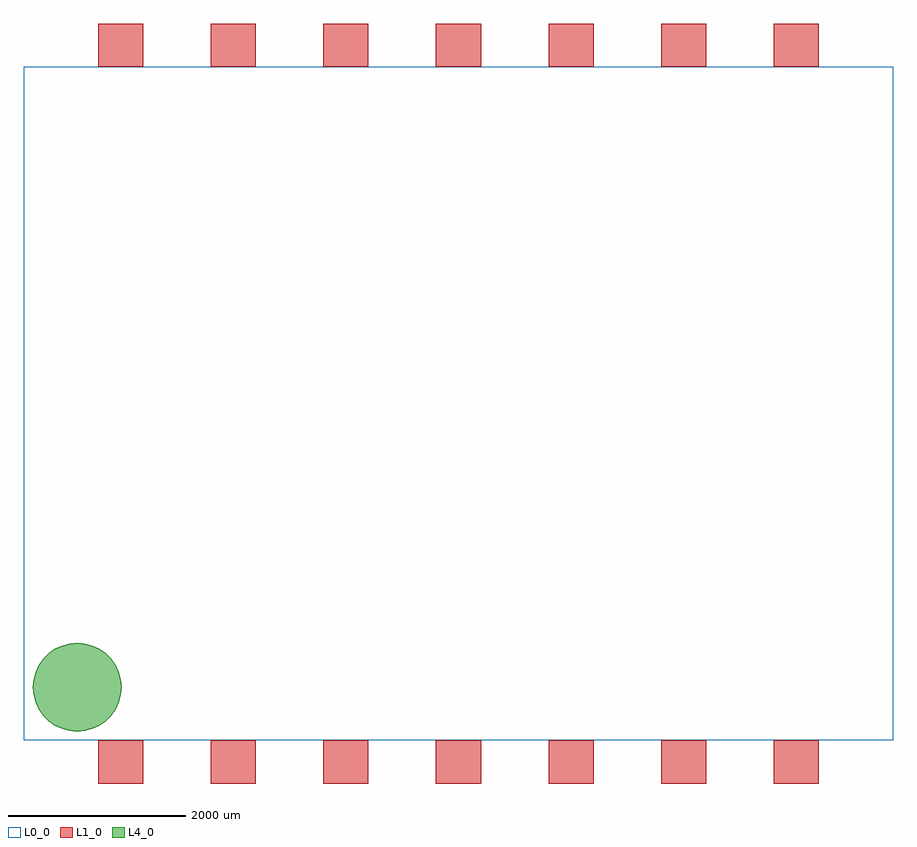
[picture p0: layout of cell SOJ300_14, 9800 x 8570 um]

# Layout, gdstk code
import gdstk
lib = gdstk.Library(unit=1e-6, precision=1e-09)
def R(c, l, rs):  # rectangles x0, y0, x1, y1
    for r in rs: c.add(gdstk.rectangle(r[:2], r[2:], *l))
def A(c, l, x, y, w, h, nx, ny, dx, dy):  # array of equal rectangles
    R(c, l, [(x+i*dx, y+j*dy, x+i*dx+w, y+j*dy+h) for i in range(nx) for j in range(ny)])
def P(c, l, *ps):  # polygons
    for p in ps: c.add(gdstk.Polygon(p, *l))
L0_0 = (0, 0)
L1_0 = (1, 0)
L4_0 = (4, 0)
L99_1 = (99, 1)
L99_2 = (99, 2)
L99_3 = (99, 3)
L99_4 = (99, 4)
L99_5 = (99, 5)
L99_6 = (99, 6)
L99_7 = (99, 7)
L99_8 = (99, 8)
L99_9 = (99, 9)
L99_10 = (99, 10)
L99_11 = (99, 11)
L99_12 = (99, 12)
L99_13 = (99, 13)
L99_14 = (99, 14)

soj300_14 = lib.new_cell('SOJ300_14')
R(soj300_14, L0_0, [(0,0,9800,7600)])
A(soj300_14, L1_0, 835, -485, 510, 485, 7, 2, 1270, 8085)
P(soj300_14, L4_0, [(1100,600),(1092.404,513.176),(1069.846,428.99),(1033.013,350),(983.022,278.606),(921.394,216.978),(850,166.987),(771.01,130.154),(686.824,107.596),(600,100),(513.176,107.596),(428.99,130.154),(350,166.987),(278.606,216.978),(216.978,278.606),(166.987,350),(130.154,428.99),(107.596,513.176),(100,600),(107.596,686.824),(130.154,771.01),(166.987,850),(216.978,921.394),(278.606,983.022),(350,1033.013),(428.99,1069.846),(513.176,1092.404),(600,1100),(686.824,1092.404),(771.01,1069.846),(850,1033.013),(921.394,983.022),(983.022,921.394),(1033.013,850),(1069.846,771.01),(1092.404,686.824)])
soj300_14.add(gdstk.FlexPath([(1345,0),(835,0)], 0, ends="round", simple_path=True, layer=99, datatype=1))  # L99_1
soj300_14.add(gdstk.FlexPath([(2615,0),(2105,0)], 0, ends="round", simple_path=True, layer=99, datatype=2))  # L99_2
soj300_14.add(gdstk.FlexPath([(3885,0),(3375,0)], 0, ends="round", simple_path=True, layer=99, datatype=3))  # L99_3
soj300_14.add(gdstk.FlexPath([(5155,0),(4645,0)], 0, ends="round", simple_path=True, layer=99, datatype=4))  # L99_4
soj300_14.add(gdstk.FlexPath([(6425,0),(5915,0)], 0, ends="round", simple_path=True, layer=99, datatype=5))  # L99_5
soj300_14.add(gdstk.FlexPath([(7695,0),(7185,0)], 0, ends="round", simple_path=True, layer=99, datatype=6))  # L99_6
soj300_14.add(gdstk.FlexPath([(8965,0),(8455,0)], 0, ends="round", simple_path=True, layer=99, datatype=7))  # L99_7
soj300_14.add(gdstk.FlexPath([(835,7600),(1345,7600)], 0, ends="round", simple_path=True, layer=99, datatype=14))  # L99_14
soj300_14.add(gdstk.FlexPath([(2105,7600),(2615,7600)], 0, ends="round", simple_path=True, layer=99, datatype=13))  # L99_13
soj300_14.add(gdstk.FlexPath([(3375,7600),(3885,7600)], 0, ends="round", simple_path=True, layer=99, datatype=12))  # L99_12
soj300_14.add(gdstk.FlexPath([(4645,7600),(5155,7600)], 0, ends="round", simple_path=True, layer=99, datatype=11))  # L99_11
soj300_14.add(gdstk.FlexPath([(5915,7600),(6425,7600)], 0, ends="round", simple_path=True, layer=99, datatype=10))  # L99_10
soj300_14.add(gdstk.FlexPath([(7185,7600),(7695,7600)], 0, ends="round", simple_path=True, layer=99, datatype=9))  # L99_9
soj300_14.add(gdstk.FlexPath([(8455,7600),(8965,7600)], 0, ends="round", simple_path=True, layer=99, datatype=8))  # L99_8

lib.write_gds('SOJ300_14.gds')
